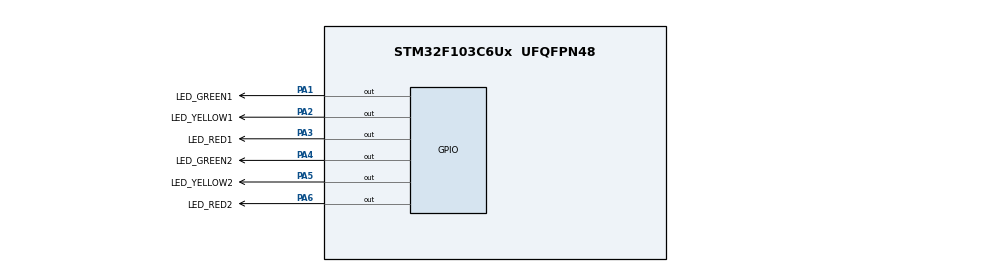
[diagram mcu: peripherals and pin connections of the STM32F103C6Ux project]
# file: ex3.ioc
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Mcu.Family=STM32F1
Mcu.Name=STM32F103C6Ux
Mcu.Package=UFQFPN48
NVIC.PriorityGroup=NVIC_PRIORITYGROUP_4
PA1.GPIO_Label=LED_GREEN1
PA1.Signal=GPIO_Output
PA2.GPIO_Label=LED_YELLOW1
PA2.Signal=GPIO_Output
PA3.GPIO_Label=LED_RED1
PA3.Signal=GPIO_Output
PA4.GPIO_Label=LED_GREEN2
PA4.Signal=GPIO_Output
PA5.GPIO_Label=LED_YELLOW2
PA5.Signal=GPIO_Output
PA6.GPIO_Label=LED_RED2
PA6.Signal=GPIO_Output
ProjectManager.HeapSize=0x200
ProjectManager.StackSize=0x400
ProjectManager.TargetToolchain=STM32CubeIDE
RCC.APB1Freq_Value=8000000
RCC.APB2Freq_Value=8000000
VP_SYS_VS_ND.Mode=No_Debug
board=custom

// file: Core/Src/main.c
/* USER CODE BEGIN Header */
/**
  ******************************************************************************
  * @file           : main.c
  * @brief          : Main program body
  ******************************************************************************
  * @attention
  *
  * <h2><center>&copy; Copyright (c) 2022 STMicroelectronics.
  * All rights reserved.</center></h2>
  *
  * This software component is licensed by ST under BSD 3-Clause license,
  * the "License"; You may not use this file except in compliance with the
  * License. You may obtain a copy of the License at:
  *                        opensource.org/licenses/BSD-3-Clause
  *
  ******************************************************************************
  */
/* USER CODE END Header */
#include "main.h"

void SystemClock_Config(void);
static void MX_GPIO_Init(void);

int main(void)
{

  /* MCU Configuration--------------------------------------------------------*/

  /* Reset of all peripherals, Initializes the Flash interface and the Systick. */
  HAL_Init();

  /* Configure the system clock */
  SystemClock_Config();

  /* Initialize all configured peripherals */
  MX_GPIO_Init();

  /* Infinite loop */
  /* USER CODE BEGIN WHILE */
  int count =0;
  HAL_GPIO_WritePin(LED_RED1_GPIO_Port,LED_RED1_Pin,1 );
  HAL_GPIO_WritePin(LED_GREEN1_GPIO_Port, LED_GREEN1_Pin,1);
  HAL_GPIO_WritePin(LED_YELLOW1_GPIO_Port, LED_YELLOW1_Pin,1);
  HAL_GPIO_WritePin(LED_GREEN2_GPIO_Port, LED_GREEN2_Pin,1);
  HAL_GPIO_WritePin(LED_RED2_GPIO_Port,LED_RED2_Pin,1 );
  HAL_GPIO_WritePin(LED_YELLOW2_GPIO_Port, LED_YELLOW2_Pin,1);
  while (1)
  {
	  count++;
	  if(count <= 5){
		  HAL_GPIO_WritePin(LED_RED1_GPIO_Port,LED_RED1_Pin,0 );
		  HAL_GPIO_WritePin(LED_RED2_GPIO_Port,LED_RED2_Pin,1 );
		  HAL_GPIO_WritePin(LED_YELLOW1_GPIO_Port, LED_YELLOW1_Pin,1);
		  if (count <=3){
			  HAL_GPIO_WritePin(LED_GREEN2_GPIO_Port, LED_GREEN2_Pin,0);
		  }
		  else if (count>3 && count <=5){
			  HAL_GPIO_WritePin(LED_GREEN2_GPIO_Port, LED_GREEN2_Pin,1);
			  HAL_GPIO_WritePin(LED_YELLOW2_GPIO_Port, LED_YELLOW2_Pin,0);
		  }
	  }
	  else if (count > 5 && count <= 10){
		  HAL_GPIO_WritePin(LED_RED1_GPIO_Port,LED_RED1_Pin,1 );
		  HAL_GPIO_WritePin(LED_YELLOW2_GPIO_Port, LED_YELLOW2_Pin,1);
		  HAL_GPIO_WritePin(LED_RED2_GPIO_Port,LED_RED2_Pin,0 );
		  if (count <= 8){
			  HAL_GPIO_WritePin(LED_GREEN1_GPIO_Port, LED_GREEN1_Pin,0);
		  }
		  else if (count >8 && count <=10){
			  HAL_GPIO_WritePin(LED_YELLOW1_GPIO_Port, LED_YELLOW1_Pin,0);
			  HAL_GPIO_WritePin(LED_GREEN1_GPIO_Port, LED_GREEN1_Pin,1);
			  if (count == 10){
				  count = 0;
			  }
		  }
	  }
	  HAL_Delay(1000);
    /* USER CODE END WHILE */

  }
}

void SystemClock_Config(void)
{
  RCC_OscInitTypeDef RCC_OscInitStruct = {0};
  RCC_ClkInitTypeDef RCC_ClkInitStruct = {0};

  /** Initializes the RCC Oscillators according to the specified parameters
  * in the RCC_OscInitTypeDef structure.
  */
  RCC_OscInitStruct.OscillatorType = RCC_OSCILLATORTYPE_HSI;
  RCC_OscInitStruct.HSIState = RCC_HSI_ON;
  RCC_OscInitStruct.HSICalibrationValue = RCC_HSICALIBRATION_DEFAULT;
  RCC_OscInitStruct.PLL.PLLState = RCC_PLL_NONE;
  if (HAL_RCC_OscConfig(&RCC_OscInitStruct) != HAL_OK)
  {
    Error_Handler();
  }
  /** Initializes the CPU, AHB and APB buses clocks
  */
  RCC_ClkInitStruct.ClockType = RCC_CLOCKTYPE_HCLK|RCC_CLOCKTYPE_SYSCLK
                              |RCC_CLOCKTYPE_PCLK1|RCC_CLOCKTYPE_PCLK2;
  RCC_ClkInitStruct.SYSCLKSource = RCC_SYSCLKSOURCE_HSI;
  RCC_ClkInitStruct.AHBCLKDivider = RCC_SYSCLK_DIV1;
  RCC_ClkInitStruct.APB1CLKDivider = RCC_HCLK_DIV1;
  RCC_ClkInitStruct.APB2CLKDivider = RCC_HCLK_DIV1;

  if (HAL_RCC_ClockConfig(&RCC_ClkInitStruct, FLASH_LATENCY_0) != HAL_OK)
  {
    Error_Handler();
  }
}

static void MX_GPIO_Init(void)
{
  GPIO_InitTypeDef GPIO_InitStruct = {0};

  /* GPIO Ports Clock Enable */
  __HAL_RCC_GPIOA_CLK_ENABLE();

  /*Configure GPIO pin Output Level */
  HAL_GPIO_WritePin(GPIOA, LED_GREEN1_Pin|LED_YELLOW1_Pin|LED_RED1_Pin|LED_GREEN2_Pin
                          |LED_YELLOW2_Pin|LED_RED2_Pin, GPIO_PIN_RESET);

  /*Configure GPIO pins : LED_GREEN1_Pin LED_YELLOW1_Pin LED_RED1_Pin LED_GREEN2_Pin
                           LED_YELLOW2_Pin LED_RED2_Pin */
  GPIO_InitStruct.Pin = LED_GREEN1_Pin|LED_YELLOW1_Pin|LED_RED1_Pin|LED_GREEN2_Pin
                          |LED_YELLOW2_Pin|LED_RED2_Pin;
  GPIO_InitStruct.Mode = GPIO_MODE_OUTPUT_PP;
  GPIO_InitStruct.Pull = GPIO_NOPULL;
  GPIO_InitStruct.Speed = GPIO_SPEED_FREQ_LOW;
  HAL_GPIO_Init(GPIOA, &GPIO_InitStruct);

}

void Error_Handler(void)
{
  __disable_irq();
  while (1)
  {
  }
}

/************************ (C) COPYRIGHT STMicroelectronics *****END OF FILE****/
